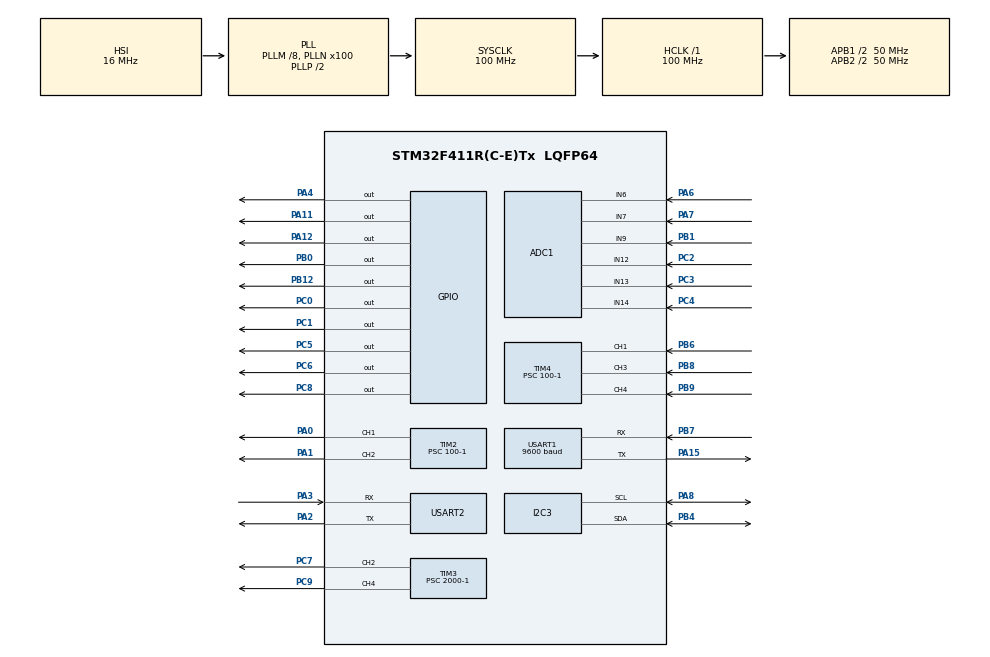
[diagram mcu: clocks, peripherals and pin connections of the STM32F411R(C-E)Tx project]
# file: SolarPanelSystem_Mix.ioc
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ADC1.Channel-1\#ChannelRegularConversion=ADC_CHANNEL_6
ADC1.Channel-2\#ChannelRegularConversion=ADC_CHANNEL_12
ADC1.Channel-3\#ChannelRegularConversion=ADC_CHANNEL_7
ADC1.Channel-4\#ChannelRegularConversion=ADC_CHANNEL_9
ADC1.Channel-5\#ChannelRegularConversion=ADC_CHANNEL_13
ADC1.Channel-6\#ChannelRegularConversion=ADC_CHANNEL_14
ADC1.ContinuousConvMode=ENABLE
ADC1.DMAContinuousRequests=ENABLE
ADC1.NbrOfConversion=6
ADC1.NbrOfConversionFlag=1
ADC1.Rank-1\#ChannelRegularConversion=1
ADC1.Rank-2\#ChannelRegularConversion=2
ADC1.Rank-3\#ChannelRegularConversion=3
ADC1.Rank-4\#ChannelRegularConversion=4
ADC1.Rank-5\#ChannelRegularConversion=5
ADC1.Rank-6\#ChannelRegularConversion=6
ADC1.SamplingTime-1\#ChannelRegularConversion=ADC_SAMPLETIME_144CYCLES
ADC1.SamplingTime-2\#ChannelRegularConversion=ADC_SAMPLETIME_144CYCLES
ADC1.SamplingTime-3\#ChannelRegularConversion=ADC_SAMPLETIME_112CYCLES
ADC1.SamplingTime-4\#ChannelRegularConversion=ADC_SAMPLETIME_112CYCLES
ADC1.SamplingTime-5\#ChannelRegularConversion=ADC_SAMPLETIME_112CYCLES
ADC1.SamplingTime-6\#ChannelRegularConversion=ADC_SAMPLETIME_112CYCLES
ADC1.ScanConvMode=ENABLE
ADC1.master=1
Dma.ADC1.0.Direction=DMA_PERIPH_TO_MEMORY
Dma.ADC1.0.FIFOMode=DMA_FIFOMODE_DISABLE
Dma.ADC1.0.Instance=DMA2_Stream0
Dma.ADC1.0.MemDataAlignment=DMA_MDATAALIGN_HALFWORD
Dma.ADC1.0.MemInc=DMA_MINC_ENABLE
Dma.ADC1.0.Mode=DMA_CIRCULAR
Dma.ADC1.0.PeriphDataAlignment=DMA_PDATAALIGN_HALFWORD
Dma.ADC1.0.PeriphInc=DMA_PINC_DISABLE
Dma.ADC1.0.Priority=DMA_PRIORITY_LOW
Dma.Request0=ADC1
Mcu.Family=STM32F4
Mcu.Name=STM32F411R(C-E)Tx
Mcu.Package=LQFP64
NVIC.DMA2_Stream0_IRQn=true\:0\:0\:false\:false\:true\:false\:true\:true
NVIC.PriorityGroup=NVIC_PRIORITYGROUP_4
NVIC.TIM4_IRQn=true\:0\:0\:false\:false\:true\:true\:true\:true
NVIC.USART1_IRQn=true\:0\:0\:false\:false\:true\:true\:true\:true
NVIC.USART2_IRQn=true\:0\:0\:false\:false\:true\:true\:true\:true
PA0-WKUP.Signal=S_TIM2_CH1_ETR
PA1.Signal=S_TIM2_CH2
PA11.Signal=GPIO_Output
PA12.Signal=GPIO_Output
PA13.Mode=Serial_Wire
PA13.Signal=SYS_JTMS-SWDIO
PA14.Mode=Serial_Wire
PA14.Signal=SYS_JTCK-SWCLK
PA15.Mode=Asynchronous
PA15.Signal=USART1_TX
PA2.Mode=Asynchronous
PA2.Signal=USART2_TX
PA3.Mode=Asynchronous
PA3.Signal=USART2_RX
PA4.Signal=GPIO_Output
PA6.Signal=ADCx_IN6
PA7.Signal=ADCx_IN7
PA8.Mode=I2C
PA8.Signal=I2C3_SCL
PB0.Signal=GPIO_Output
PB1.Signal=ADCx_IN9
PB12.Signal=GPIO_Output
PB4.Mode=I2C
PB4.Signal=I2C3_SDA
PB6.Signal=S_TIM4_CH1
PB7.Mode=Asynchronous
PB7.Signal=USART1_RX
PB8.Signal=S_TIM4_CH3
PB9.Signal=S_TIM4_CH4
PC0.Signal=GPIO_Output
PC1.Signal=GPIO_Output
PC2.Signal=ADCx_IN12
PC3.Signal=ADCx_IN13
PC4.Signal=ADCx_IN14
PC5.Signal=GPIO_Output
PC6.Signal=GPIO_Output
PC7.Signal=S_TIM3_CH2
PC8.Signal=GPIO_Output
PC9.Signal=S_TIM3_CH4
PH0\ -\ OSC_IN.Mode=HSE-External-Clock-Source
PH0\ -\ OSC_IN.Signal=RCC_OSC_IN
PH1\ -\ OSC_OUT.Mode=HSE-External-Clock-Source
PH1\ -\ OSC_OUT.Signal=RCC_OSC_OUT
ProjectManager.HeapSize=0x200
ProjectManager.StackSize=0x400
ProjectManager.TargetToolchain=STM32CubeIDE
RCC.48MHZClocksFreq_Value=50000000
RCC.AHBFreq_Value=100000000
RCC.APB1CLKDivider=RCC_HCLK_DIV2
RCC.APB1Freq_Value=50000000
RCC.APB1TimFreq_Value=100000000
RCC.APB2CLKDivider=RCC_HCLK_DIV2
RCC.APB2Freq_Value=50000000
RCC.APB2TimFreq_Value=100000000
RCC.CortexFreq_Value=100000000
RCC.HCLKFreq_Value=100000000
RCC.HSE_VALUE=8000000
RCC.HSI_VALUE=16000000
RCC.LSE_VALUE=32768
RCC.PLLM=8
RCC.PLLN=100
RCC.SYSCLKFreq_VALUE=100000000
RCC.SYSCLKSource=RCC_SYSCLKSOURCE_PLLCLK
RCC.VCOOutputFreq_Value=200000000
SH.ADCx_IN12.0=ADC1_IN12,IN12
SH.ADCx_IN13.0=ADC1_IN13,IN13
SH.ADCx_IN14.0=ADC1_IN14,IN14
SH.ADCx_IN6.0=ADC1_IN6,IN6
SH.ADCx_IN7.0=ADC1_IN7,IN7
SH.ADCx_IN9.0=ADC1_IN9,IN9
SH.S_TIM2_CH1_ETR.0=TIM2_CH1,PWM Generation1 CH1
SH.S_TIM2_CH2.0=TIM2_CH2,PWM Generation2 CH2
SH.S_TIM3_CH2.0=TIM3_CH2,PWM Generation2 CH2
SH.S_TIM3_CH4.0=TIM3_CH4,PWM Generation4 CH4
SH.S_TIM4_CH1.0=TIM4_CH1,Input_Capture1_from_TI1
SH.S_TIM4_CH3.0=TIM4_CH3,Input_Capture3_from_TI3
SH.S_TIM4_CH4.0=TIM4_CH4,Input_Capture4_from_TI4
TIM11.Prescaler=100-1
TIM2.Channel-PWM\ Generation1\ CH1=TIM_CHANNEL_1
TIM2.Channel-PWM\ Generation2\ CH2=TIM_CHANNEL_2
TIM2.Period=1000-1
TIM2.Prescaler=100-1
TIM3.Channel-PWM\ Generation2\ CH2=TIM_CHANNEL_2
TIM3.Channel-PWM\ Generation4\ CH4=TIM_CHANNEL_4
TIM3.Period=1000-1
TIM3.Prescaler=2000-1
TIM4.Channel-Input_Capture1_from_TI1=TIM_CHANNEL_1
TIM4.Channel-Input_Capture3_from_TI3=TIM_CHANNEL_3
TIM4.Channel-Input_Capture4_from_TI4=TIM_CHANNEL_4
TIM4.ICFilter_CH1=4
TIM4.ICFilter_CH3=4
TIM4.ICFilter_CH4=4
TIM4.Prescaler=100-1
USART1.BaudRate=9600
USART1.VirtualMode=VM_ASYNC
USART2.VirtualMode=VM_ASYNC
VP_TIM11_VS_ClockSourceINT.Mode=Enable_Timer
VP_TIM2_VS_ClockSourceINT.Mode=Internal
VP_TIM3_VS_ClockSourceINT.Mode=Internal
board=custom

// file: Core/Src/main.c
/* USER CODE BEGIN Header */
/**
  ******************************************************************************
  * @file           : main.c
  * @brief          : Main program body
  ******************************************************************************
  * @attention
  *
  * Copyright (c) 2026 STMicroelectronics.
  * All rights reserved.
  *
  * This software is licensed under terms that can be found in the LICENSE file
  * in the root directory of this software component.
  * If no LICENSE file comes with this software, it is provided AS-IS.
  *
  ******************************************************************************
  */
/* USER CODE END Header */
#include "main.h"
#include "adc.h"
#include "dma.h"
#include "i2c.h"
#include "tim.h"
#include "usart.h"
#include "gpio.h"

/* USER CODE BEGIN Includes */

#include <stdio.h>
#include <string.h>

#include "car.h"
#include "direction.h"
#include "speed.h"
#include "delay.h"
#include "ledbar.h"
#include "temp.h"
#include "ultrasonic.h"
#include "autodrive.h"
#include "gas.h"
#include "ina219.h"
#include "trace.h"

/* USER CODE END Includes */

/* USER CODE BEGIN PM */

#ifdef __GNUC__
/* With GCC small printf (option LD Linker->Libraries->Small printf
 * set to 'Yes') calls __io_putchar() */
#define PUTCHAR_PROTOTYPE int  __io_putchar(int ch)
#else
#define PUTCHAR_PROTOTYPE int  fputc(int ch, FILE *f)
#endif /* __GNUC__*/

/** @brief Retargets the C library printf function to the USART.
 *  @param None
 *  @retval None
 */
PUTCHAR_PROTOTYPE
{
  /* Place your implementation of fputc here */
  /* e.g. write a character to the USART2 and Loop
     until the end of transmission */
  if(ch == '\n')
  {
	  HAL_UART_Transmit(&huart2, (uint8_t*) "\r", 1, 0xFFFF);
  }
   HAL_UART_Transmit(&huart2, (uint8_t*) &ch, 1, 0xFFFF);
   return ch;
}

/* USER CODE END PM */

/* USER CODE BEGIN PV */

//uint16_t adc_buf[2];   // [0]=Temp(PA6), [1]=Gas(PC2)

// uart
uint8_t rx1_data;

volatile uint8_t uart1_flag = 0;
volatile uint8_t uart1_cmd;

extern I2C_HandleTypeDef hi2c3; // MX에서 설정한 I2C3 핸들
INA219_t battery_monitor;
int32_t v_mv, i_ma;

uint16_t adcValue[6];
uint16_t S1,S2,S3,S4;
int error_x;
int error_y;

/* USER CODE END PV */

void SystemClock_Config(void);

/* USER CODE BEGIN 0 */

void HAL_UART_RxCpltCallback(UART_HandleTypeDef *huart)
{
    if (huart->Instance == USART1)
    {
        uart1_cmd = rx1_data;
        uart1_flag = 1;

        HAL_UART_Receive_IT(&huart1, &rx1_data, 1);
    }
}

void HAL_TIM_IC_CaptureCallback(TIM_HandleTypeDef *htim)
{
	Ultrasonic_IC_Callback(htim);
}

/* USER CODE END 0 */

int main(void)
{

  /* MCU Configuration--------------------------------------------------------*/

  /* Reset of all peripherals, Initializes the Flash interface and the Systick. */
  HAL_Init();

  /* Configure the system clock */
  SystemClock_Config();

  /* Initialize all configured peripherals */
  MX_GPIO_Init();
  MX_DMA_Init();
  MX_TIM2_Init();
  MX_USART2_UART_Init();
  MX_TIM3_Init();
  MX_TIM4_Init();
  MX_TIM11_Init();
  MX_USART1_UART_Init();
  MX_ADC1_Init();
  MX_I2C3_Init();
  /* USER CODE BEGIN 2 */

  HAL_ADC_Start_DMA(&hadc1, (uint32_t*)adcValue, 6);

  Speed_Init(&htim2, TIM_CHANNEL_1, &htim2, TIM_CHANNEL_2);

  Car_Init();

  // UART1
  HAL_UART_Receive_IT(&huart1, &rx1_data, 1);

  // ultrasonic
  HAL_TIM_Base_Start(&htim11);
  Ultrasonic_Init();

  AutoDrive_Init();

  //servo
  HAL_TIM_PWM_Start(&htim3, TIM_CHANNEL_2);   // 서보모터(수평면) PWM 제어
  HAL_TIM_PWM_Start(&htim3, TIM_CHANNEL_4);   // 서보모터(수직면) PWM

  uint32_t sensor_time = 0;
  uint32_t servo_time = 0;
  uint32_t speed_time = 0;

  if (INA219_Init(&battery_monitor, &hi2c3) != HAL_OK) {
      printf("INA219 Init Failed!\r\n");
  }

  /* USER CODE END 2 */

  /* Infinite loop */
  /* USER CODE BEGIN WHILE */

  while (1)
  {
  	/* ================= 센서 상태 읽기 ================= */

  	TempLevel_t temp_status = Temp_TaskLevel();
  	GasLevel_t gas_status = Gas_TaskPPM();

  	v_mv = INA219_ReadBusVoltage_mV(&battery_monitor);
    i_ma = INA219_ReadCurrent_mA(&battery_monitor);

    /* ================= 위험 요소 판단 ================= */

		uint8_t danger_count = 0;
		if (temp_status != TEMP_SAFE) danger_count++;
		if (gas_status != GAS_SAFE)   danger_count++;
		if (i_ma >= 800)              danger_count++; // 과전류 기준 800mA

		/* ================= 감속 로직 ================= */

		if (HAL_GetTick() - speed_time >= 100)   // 100ms마다 감속
		{
				speed_time = HAL_GetTick();

				uint8_t reduction_step = 0;

				if (danger_count == 1)      reduction_step = 1;
				else if (danger_count == 2) reduction_step = 3;
				else if (danger_count >= 3) reduction_step = 5;

				if (danger_count > 0)
				{
						if (current_speed > 30)
						{
								if (current_speed > 30 + reduction_step)
										current_speed -= reduction_step;
								else
										current_speed = 30;
						}
				}
		}

		/* ================= UART RC 제어 ================= */
		Ultrasonic_Task();
//		ultrasonic_uart2_debugmsg();
//		printf("L:%d C:%d R:%d | %s\r\n",
//										dist_L, dist_C, dist_R, AutoDrive_GetActionString());

		if (uart1_flag) {
				uart1_flag = 0;
				Drive_Control(uart1_cmd, current_speed);
				HAL_UART_Transmit(&huart2, (uint8_t*)&uart1_cmd, 1, 10);
		}

		/* ================= 자율주행 ================= */

		if (auto_mode)
		{

				AutoDrive_Run(current_speed);   // 내부에서 current_speed 사용

		}

		/* ================= 디버그 출력 ================= */

//		printf("Bat: %ld.%02ld V, Cur: %ld mA\r\n",
//					 v_mv / 1000,
//					 (v_mv % 1000) / 10,
//					 i_ma);
//
		if (stop_flag)
		{
			printf("Current SPEED : 0\r\n");
				/* ================= 태양광 추적 ================= */
				if (HAL_GetTick() - sensor_time >= 50)
				{
						sensor_time = HAL_GetTick();

						Sensor_Filter();

						Sun_Position();
						Target_Update();
				}

				if (HAL_GetTick() - servo_time >= 20)
				{
						servo_time = HAL_GetTick();
						Servo_Move();
				}
		}
		else
			printf("Current SPEED : %d\r\n", current_speed);

    /* USER CODE END WHILE */

  }
}

void SystemClock_Config(void)
{
  RCC_OscInitTypeDef RCC_OscInitStruct = {0};
  RCC_ClkInitTypeDef RCC_ClkInitStruct = {0};

  /** Configure the main internal regulator output voltage
  */
  __HAL_RCC_PWR_CLK_ENABLE();
  __HAL_PWR_VOLTAGESCALING_CONFIG(PWR_REGULATOR_VOLTAGE_SCALE1);

  /** Initializes the RCC Oscillators according to the specified parameters
  * in the RCC_OscInitTypeDef structure.
  */
  RCC_OscInitStruct.OscillatorType = RCC_OSCILLATORTYPE_HSI;
  RCC_OscInitStruct.HSIState = RCC_HSI_ON;
  RCC_OscInitStruct.HSICalibrationValue = RCC_HSICALIBRATION_DEFAULT;
  RCC_OscInitStruct.PLL.PLLState = RCC_PLL_ON;
  RCC_OscInitStruct.PLL.PLLSource = RCC_PLLSOURCE_HSI;
  RCC_OscInitStruct.PLL.PLLM = 8;
  RCC_OscInitStruct.PLL.PLLN = 100;
  RCC_OscInitStruct.PLL.PLLP = RCC_PLLP_DIV2;
  RCC_OscInitStruct.PLL.PLLQ = 4;
  if (HAL_RCC_OscConfig(&RCC_OscInitStruct) != HAL_OK)
  {
    Error_Handler();
  }

  /** Initializes the CPU, AHB and APB buses clocks
  */
  RCC_ClkInitStruct.ClockType = RCC_CLOCKTYPE_HCLK|RCC_CLOCKTYPE_SYSCLK
                              |RCC_CLOCKTYPE_PCLK1|RCC_CLOCKTYPE_PCLK2;
  RCC_ClkInitStruct.SYSCLKSource = RCC_SYSCLKSOURCE_PLLCLK;
  RCC_ClkInitStruct.AHBCLKDivider = RCC_SYSCLK_DIV1;
  RCC_ClkInitStruct.APB1CLKDivider = RCC_HCLK_DIV2;
  RCC_ClkInitStruct.APB2CLKDivider = RCC_HCLK_DIV2;

  if (HAL_RCC_ClockConfig(&RCC_ClkInitStruct, FLASH_LATENCY_3) != HAL_OK)
  {
    Error_Handler();
  }
}

void Error_Handler(void)
{
  __disable_irq();
  while (1)
  {
  }
}
